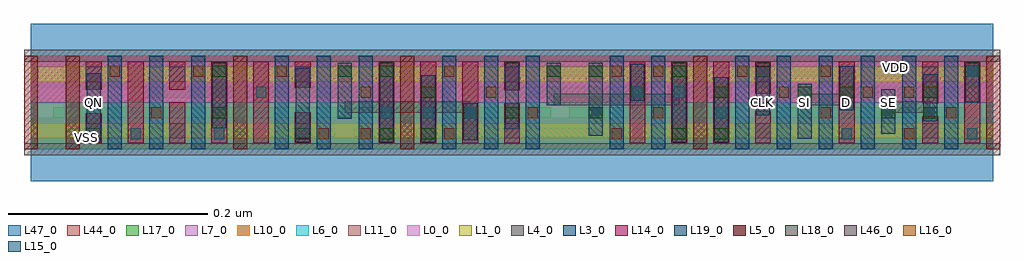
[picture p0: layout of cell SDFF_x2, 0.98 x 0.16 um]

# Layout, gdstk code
import gdstk
lib = gdstk.Library(unit=1e-6, precision=5e-10)
def R(c, l, rs):  # rectangles x0, y0, x1, y1
    for r in rs: c.add(gdstk.rectangle(r[:2], r[2:], *l))
def A(c, l, x, y, w, h, nx, ny, dx, dy):  # array of equal rectangles
    R(c, l, [(x+i*dx, y+j*dy, x+i*dx+w, y+j*dy+h) for i in range(nx) for j in range(ny)])
L0_0 = (0, 0)
L1_0 = (1, 0)
L3_0 = (3, 0)
L4_0 = (4, 0)
L5_0 = (5, 0)
L6_0 = (6, 0)
L7_0 = (7, 0)
L10_0 = (10, 0)
L11_0 = (11, 0)
L14_0 = (14, 0)
L15_0 = (15, 0)
L16_0 = (16, 0)
L17_0 = (17, 0)
L18_0 = (18, 0)
L19_0 = (19, 0)
L44_0 = (44, 0)
L46_0 = (46, 0)
L47_0 = (47, 0)

sdff_x2 = lib.new_cell('SDFF_x2')
R(sdff_x2, L0_0, [(0,0.047,0.966,0.094)])
R(sdff_x2, L1_0, [(0,0.011,0.966,0.026), (0,0.068,0.966,0.083)])
A(sdff_x2, L3_0, 0.077, 0, 0.014, 0.094, 3, 1, 0.042, 0)
A(sdff_x2, L3_0, 0.245, 0, 0.014, 0.094, 3, 1, 0.042, 0)
A(sdff_x2, L3_0, 0.413, 0, 0.014, 0.094, 3, 1, 0.042, 0)
A(sdff_x2, L3_0, 0.707, 0, 0.014, 0.094, 6, 1, 0.042, 0)
R(sdff_x2, L3_0, [(0.581,0,0.595,0.094), (0.623,0,0.637,0.094)])
R(sdff_x2, L4_0, [(-0.007,-0.006,0.973,0.006), (0.315,0.0365,0.441,0.0485), (0.861,0.0365,0.903,0.0485), (0.525,0.044,0.651,0.056), (0.777,0.044,0.819,0.056), (-0.007,0.088,0.973,0.1)])
A(sdff_x2, L5_0, 0.035, 0, 0.014, 0.094, 3, 1, 0.168, 0)
R(sdff_x2, L5_0, [(-0.007,0,0.007,0.094), (0.665,0,0.679,0.094), (0.959,0,0.973,0.094)])
R(sdff_x2, L6_0, [(0,0,0.966,0.047)])
R(sdff_x2, L7_0, [(0,0.047,0.966,0.094)])
R(sdff_x2, L10_0, [(0,0,0.966,0.047)])
R(sdff_x2, L11_0, [(0,0.047,0.966,0.094)])
A(sdff_x2, L14_0, 0.349, 0.006, 0.016, 0.082, 3, 1, 0.042, 0)
A(sdff_x2, L14_0, 0.601, 0.006, 0.016, 0.082, 3, 1, 0.042, 0)
R(sdff_x2, L14_0, [(0.055,0.006,0.071,0.036), (0.097,0.006,0.113,0.088), (0.139,0.006,0.155,0.047), (0.181,0.006,0.197,0.088), (0.223,0.006,0.239,0.088), (0.265,0.006,0.281,0.037), (0.475,0.006,0.491,0.046), (0.727,0.006,0.743,0.0385), (0.811,0.006,0.827,0.088), (0.895,0.006,0.911,0.033), (0.937,0.006,0.953,0.088), (0.895,0.046,0.911,0.088), (0.727,0.056,0.743,0.088), (0.475,0.0595,0.491,0.088), (0.055,0.06,0.071,0.088), (0.139,0.06,0.155,0.088), (0.265,0.062,0.281,0.088)])
A(sdff_x2, L15_0, 0.352, 0.031, 0.01, 0.011, 3, 1, 0.042, 0)
R(sdff_x2, L15_0, [(0.1,0.01,0.11,0.021), (0.184,0.01,0.194,0.021), (0.814,0.01,0.824,0.021), (0.94,0.01,0.95,0.021), (0.688,0.031,0.698,0.042), (0.226,0.052,0.236,0.063), (0.604,0.052,0.614,0.063), (0.646,0.052,0.656,0.063), (0.94,0.073,0.95,0.084)])
A(sdff_x2, L16_0, 0.079, 0.073, 0.01, 0.011, 3, 1, 0.084, 0)
A(sdff_x2, L16_0, 0.625, 0.073, 0.01, 0.011, 3, 1, 0.084, 0)
R(sdff_x2, L16_0, [(0.289,0.01,0.299,0.021), (0.331,0.01,0.341,0.021), (0.415,0.01,0.425,0.021), (0.583,0.01,0.593,0.021), (0.877,0.01,0.887,0.021), (0.121,0.031,0.131,0.042), (0.499,0.031,0.509,0.042), (0.625,0.031,0.635,0.042), (0.793,0.031,0.803,0.042), (0.919,0.031,0.929,0.042), (0.331,0.052,0.341,0.063), (0.457,0.052,0.467,0.063), (0.751,0.052,0.761,0.063), (0.835,0.052,0.845,0.063), (0.877,0.052,0.887,0.063), (0.415,0.073,0.425,0.084), (0.583,0.073,0.593,0.084)])
R(sdff_x2, L17_0, [(0.036,0.01,0.1505,0.021), (0.1785,0.01,0.2375,0.021), (0.2295,0.01,0.3055,0.021), (0.324,0.01,0.369,0.021), (0.387,0.01,0.662,0.021), (0.516,0.01,0.662,0.021), (0.68,0.01,0.8395,0.021), (0.8675,0.01,0.926,0.021), (0.91,0.01,0.9555,0.021), (0.0225,0.031,0.408,0.042), (0.0595,0.031,0.3825,0.042), (0.08,0.031,0.402,0.042), (0.4265,0.031,0.467,0.042), (0.428,0.031,0.5225,0.042), (0.4285,0.031,0.5135,0.042), (0.5405,0.031,0.71,0.042), (0.599,0.031,0.687,0.042), (0.728,0.031,0.871,0.042), (0.799,0.031,0.9345,0.042), (0.889,0.031,0.9385,0.042), (0.112,0.052,0.411,0.063), (0.3255,0.052,0.421,0.063), (0.439,0.052,0.4795,0.063), (0.464,0.052,0.619,0.063), (0.64,0.052,0.7035,0.063), (0.7435,0.052,0.79,0.063), (0.809,0.052,0.851,0.063), (0.8705,0.052,0.939,0.063), (0.031,0.073,0.215,0.084), (0.0675,0.073,0.2235,0.084), (0.2425,0.073,0.5065,0.084), (0.294,0.073,0.5935,0.084), (0.435,0.073,0.5365,0.084), (0.5765,0.073,0.6015,0.084), (0.6205,0.073,0.6625,0.084), (0.628,0.073,0.675,0.084), (0.705,0.073,0.7455,0.084), (0.7655,0.073,0.9255,0.084), (0.895,0.073,0.956,0.084)])
A(sdff_x2, L18_0, 0.602, 0.052, 0.014, 0.011, 3, 1, 0.084, 0)
A(sdff_x2, L18_0, 0.56, 0.073, 0.014, 0.011, 3, 1, 0.084, 0)
R(sdff_x2, L18_0, [(0.056,0.01,0.07,0.021), (0.266,0.01,0.28,0.021), (0.35,0.01,0.364,0.021), (0.392,0.01,0.406,0.021), (0.644,0.01,0.658,0.021), (0.686,0.01,0.7,0.021), (0.182,0.031,0.196,0.042), (0.434,0.031,0.448,0.042), (0.476,0.031,0.49,0.042), (0.56,0.031,0.574,0.042), (0.854,0.031,0.868,0.042), (0.896,0.031,0.91,0.042), (0.392,0.052,0.406,0.063), (0.812,0.052,0.826,0.063), (0.896,0.052,0.91,0.063), (0.182,0.073,0.196,0.084), (0.308,0.073,0.322,0.084), (0.35,0.073,0.364,0.084), (0.518,0.073,0.532,0.084), (0.938,0.073,0.952,0.084)])
R(sdff_x2, L19_0, [(0.056,0.007,0.07,0.0765), (0.266,0.007,0.28,0.0815), (0.35,0.007,0.364,0.087), (0.392,0.007,0.406,0.0745), (0.644,0.007,0.658,0.087), (0.686,0.007,0.7,0.0725), (0.434,0.009,0.448,0.046), (0.77,0.0105,0.784,0.066), (0.56,0.0135,0.574,0.087), (0.854,0.0155,0.868,0.0605), (0.476,0.02,0.49,0.087), (0.182,0.021,0.196,0.087), (0.896,0.028,0.91,0.0755), (0.308,0.0305,0.322,0.087), (0.728,0.034,0.742,0.087), (0.812,0.039,0.826,0.0835), (0.518,0.044,0.532,0.087), (0.938,0.047,0.952,0.087), (0.602,0.049,0.616,0.086)])
R(sdff_x2, L44_0, [(0,0,0.966,0.094)])
R(sdff_x2, L46_0, [(0.055,0.011,0.071,0.026), (0.139,0.011,0.155,0.026), (0.265,0.011,0.281,0.026), (0.475,0.011,0.491,0.026), (0.727,0.011,0.743,0.026), (0.895,0.011,0.911,0.026), (0.055,0.068,0.071,0.083), (0.139,0.068,0.155,0.083), (0.265,0.068,0.281,0.083), (0.475,0.068,0.491,0.083), (0.727,0.068,0.743,0.083), (0.895,0.068,0.911,0.083)])
R(sdff_x2, L47_0, [(0,-0.032,0.966,0.032), (0,0.062,0.966,0.126)])
sdff_x2.add(gdstk.Label('QN', (0.063,0.047), layer=19, texttype=2))
sdff_x2.add(gdstk.Label('CLK', (0.735,0.047), layer=19, texttype=2))
sdff_x2.add(gdstk.Label('SI', (0.777,0.047), layer=19, texttype=2))
sdff_x2.add(gdstk.Label('D', (0.819,0.047), layer=19, texttype=2))
sdff_x2.add(gdstk.Label('SE', (0.861,0.047), layer=19, texttype=2))
sdff_x2.add(gdstk.Label('VSS', (0.056,0.012), layer=47, texttype=2))
sdff_x2.add(gdstk.Label('VDD', (0.868,0.082), layer=47, texttype=2))
sdff_x2.add(gdstk.Label('VDD', (0.866,0.091), layer=0, texttype=2))
sdff_x2.add(gdstk.Label('VSS', (0.052,0.003), layer=54, texttype=2))

lib.write_gds('SDFF_x2.gds')
